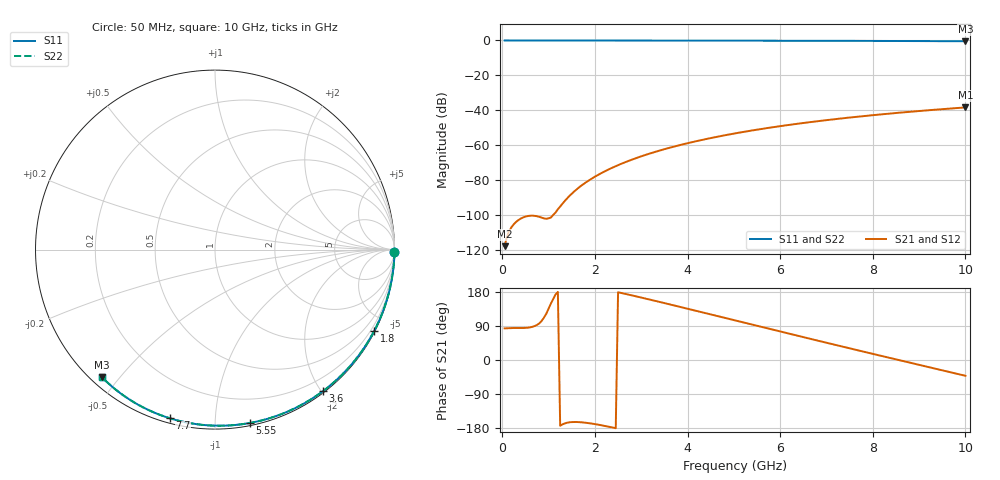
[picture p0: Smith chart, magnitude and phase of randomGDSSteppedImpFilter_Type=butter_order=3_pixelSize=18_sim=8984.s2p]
! freq	dB(S11)	phase(S11)	dB(S12)	phase(S12)
!  dB(S21)	phase(S21)	dB(S22)	phase(S22)
!S-par simulation data
#  GHz  S  DB  R 50
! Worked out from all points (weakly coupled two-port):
!   200 points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, 50 MHz to 10 GHz, reference 50 ohm
!   highest |S21| = -38.39 dB at 10 GHz (marker M1); lowest = -117.9 dB at 50 MHz (marker M2)
!   lowest |S11| = -0.4 dB at 10 GHz (marker M3), VSWR 39.03, Z = 1.54 - j22.5 ohm
!   |S11| at or under -10 dB: nowhere
!   |S22| runs from -0.4 to 0.0 dB; largest |S21 - S12| = 0
!   S11 on the Smith chart (normalised r, x): 50 MHz: open; 1.8 GHz: 0.04, -4.18; 3.6 GHz: 0.02, -2.02; 5.55 GHz: 0.02, -1.22; 7.7 GHz: 0.02, -0.77; 10 GHz: 0.03, -0.45
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0.05  -0.00 -0.8  -117.89 83.5  -117.89 83.5  -0.00 -0.8
0.9  -0.02 -13.6  -101.94 112.0  -101.94 112.0  -0.02 -13.6
1.75  -0.03 -26.2  -82.36 -164.8  -82.36 -164.8  -0.03 -26.2
1.8  -0.03 -26.9  -81.43 -165.5  -81.43 -165.5  -0.03 -26.9
1.85  -0.04 -27.7  -80.54 -166.3  -80.54 -166.3  -0.04 -27.7
1.9  -0.04 -28.4  -79.68 -167.2  -79.68 -167.2  -0.04 -28.4
2.05  -0.04 -30.6  -77.31 -170.2  -77.31 -170.2  -0.04 -30.6
2.25  -0.04 -33.5  -74.51 -174.8  -74.51 -174.8  -0.04 -33.5
2.45  -0.05 -36.4  -72.04 -179.9  -72.04 -179.9  -0.05 -36.4
2.65  -0.05 -39.3  -69.82 174.7  -69.82 174.7  -0.05 -39.3
3  -0.06 -44.2  -66.41 164.8  -66.41 164.8  -0.06 -44.2
3.4  -0.07 -49.9  -63.07 153.2  -63.07 153.2  -0.07 -49.9
3.6  -0.07 -52.7  -61.58 147.3  -61.58 147.3  -0.07 -52.7
4.3  -0.09 -62.2  -57.07 126.3  -57.07 126.3  -0.09 -62.2
5.05  -0.11 -72.2  -53.14 103.8  -53.14 103.8  -0.11 -72.2
5.55  -0.13 -78.7  -50.91 88.7  -50.91 88.7  -0.13 -78.7
6.1  -0.15 -85.6  -48.73 72.3  -48.73 72.3  -0.15 -85.6
6.7  -0.18 -93.0  -46.62 54.4  -46.62 54.4  -0.18 -93.0
7.7  -0.24 -105.0  -43.62 24.9  -43.62 24.9  -0.24 -105.0
8.35  -0.29 -112.6  -41.94 6.0  -41.94 6.0  -0.29 -112.6
9.15  -0.36 -121.8  -40.10 -17.1  -40.10 -17.1  -0.36 -121.8
10  -0.45 -131.4  -38.39 -41.6  -38.39 -41.6  -0.45 -131.4
